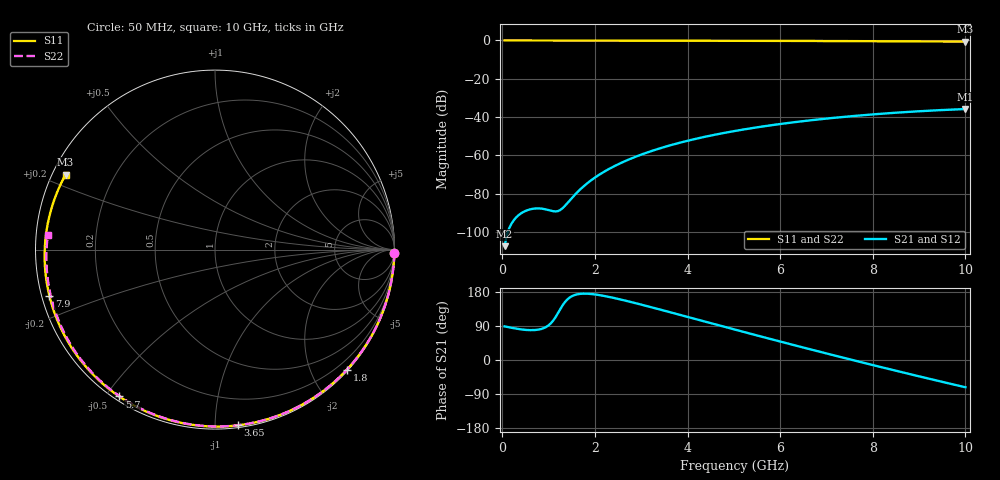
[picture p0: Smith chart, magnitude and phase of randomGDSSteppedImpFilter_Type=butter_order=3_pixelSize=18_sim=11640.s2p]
! freq	dB(S11)	phase(S11)	dB(S12)	phase(S12)
!  dB(S21)	phase(S21)	dB(S22)	phase(S22)
!S-par simulation data
#  GHz  S  DB  R 50
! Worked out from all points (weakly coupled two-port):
!   200 points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, 50 MHz to 10 GHz, reference 50 ohm
!   highest |S21| = -35.78 dB at 10 GHz (marker M1); lowest = -107.3 dB at 50 MHz (marker M2)
!   lowest |S11| = -0.6 dB at 10 GHz (marker M3), VSWR 28.20, Z = 1.87 + j11.8 ohm
!   |S11| at or under -10 dB: nowhere
!   |S22| runs from -0.6 to 0.0 dB; largest |S21 - S12| = 0
!   S11 on the Smith chart (normalised r, x): 50 MHz: 1, -98; 1.8 GHz: 0.02, -2.58; 3.65 GHz: 0.01, -1.14; 5.7 GHz: 0.02, -0.54; 7.9 GHz: 0.02, -0.14; 10 GHz: 0.04, +0.24
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0.05  -0.00 -1.2  -107.32 88.7  -107.32 88.7  -0.00 -1.1
0.45  -0.02 -10.8  -89.54 80.1  -89.54 80.1  -0.01 -9.7
0.8  -0.02 -19.1  -87.63 80.7  -87.63 80.7  -0.02 -17.3
1.55  -0.05 -36.6  -80.92 170.9  -80.92 170.9  -0.04 -33.2
1.6  -0.05 -37.8  -79.65 172.8  -79.65 172.8  -0.04 -34.2
1.75  -0.05 -41.2  -76.22 175.1  -76.22 175.1  -0.05 -37.4
1.8  -0.05 -42.3  -75.19 175.1  -75.19 175.1  -0.05 -38.4
2.1  -0.06 -49.1  -69.94 171.2  -69.94 171.2  -0.06 -44.6
2.45  -0.07 -56.9  -65.22 162.6  -65.22 162.6  -0.07 -51.7
2.9  -0.09 -66.8  -60.47 149.3  -60.47 149.3  -0.08 -60.6
3.4  -0.10 -77.4  -56.31 133.4  -56.31 133.4  -0.09 -70.4
3.65  -0.11 -82.6  -54.54 125.2  -54.54 125.2  -0.10 -75.1
4.35  -0.14 -96.9  -50.39 102.3  -50.39 102.3  -0.13 -88.2
5.05  -0.17 -110.6  -47.10 79.3  -47.10 79.3  -0.15 -100.8
5.7  -0.20 -123.1  -44.60 58.3  -44.60 58.3  -0.19 -112.1
6.7  -0.27 -141.9  -41.53 26.6  -41.53 26.6  -0.25 -129.0
7.3  -0.32 -153.1  -40.04 8.0  -40.04 8.0  -0.30 -139.0
7.9  -0.37 -164.4  -38.77 -10.3  -38.77 -10.3  -0.35 -149.0
8.35  -0.42 -173.1  -37.94 -23.9  -37.94 -23.9  -0.39 -156.5
8.8  -0.47 178.1  -37.22 -37.3  -37.22 -37.3  -0.44 -164.1
9.2  -0.52 170.1  -36.67 -49.0  -36.67 -49.0  -0.49 -171.0
10  -0.62 153.3  -35.78 -71.9  -35.78 -71.9  -0.59 174.9
